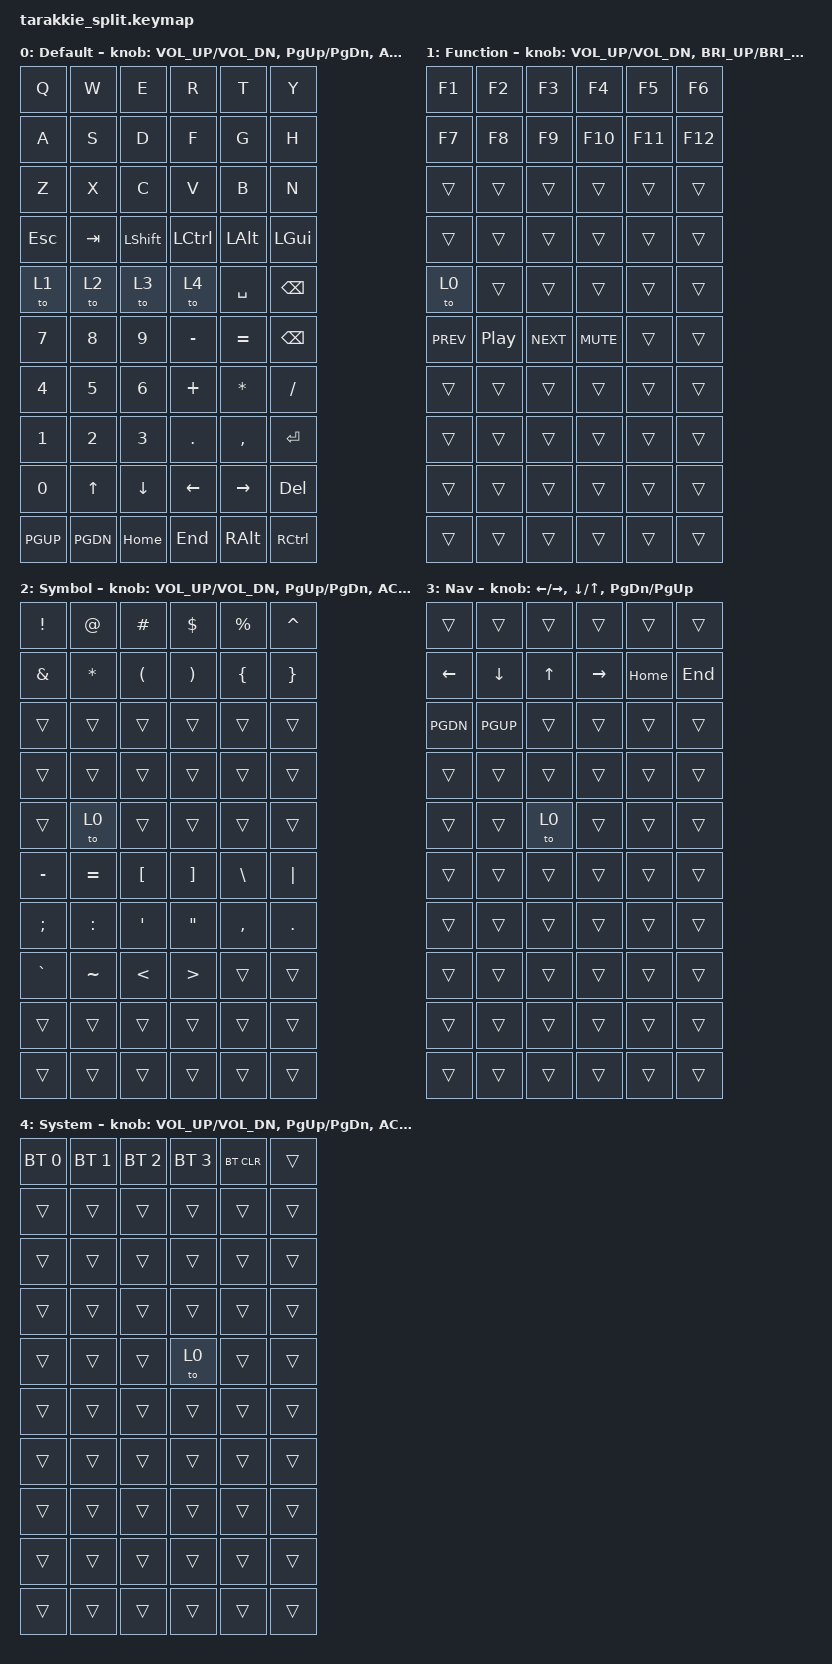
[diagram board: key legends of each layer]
/*
 * Copyright (c) 2025
 * SPDX-License-Identifier: MIT
 *
 * Tarakkie Split Keyboard Keymap
 * - Left side: 30 keys + 2 encoders (horizontal + vertical)
 * - Right side: 30 keys + 1 encoder (horizontal) + trackball
 */

#include <behaviors.dtsi>
#include <dt-bindings/zmk/keys.h>
#include <dt-bindings/zmk/bt.h>

/ {
    /* ============================================================
     * Keymap Configuration
     * Total: 60 keys (30 per side)
     * Layout per side: 6 cols x 4 rows + 6 direct keys
     * Layers: 5 (0~4)
     * ============================================================ */
    
    keymap {
        compatible = "zmk,keymap";

        /* ============================================================
         * Layer 0 - Default Layer
         * Left side: QWERTY layout + thumb keys
         * Right side: Number pad + navigation
         * Layout: 4 rows x 6 cols + 6 direct keys per side
         * ============================================================ */
        
        default_layer {
            label = "Default";
            
            bindings = <
                /* Left side (30 keys) */
                /* Matrix 6x4 */
                &kp Q      &kp W      &kp E      &kp R      &kp T      &kp Y
                &kp A      &kp S      &kp D      &kp F      &kp G      &kp H
                &kp Z      &kp X      &kp C      &kp V      &kp B      &kp N
                &kp ESC    &kp TAB    &kp LSHFT  &kp LCTRL  &kp LALT   &kp LGUI
                /* Direct keys (6) */
                &to 1      &to 2      &to 3      &to 4      &kp SPACE  &kp BSPC
                
                /* Right side (30 keys) */
                /* Matrix 6x4 */
                &kp N7     &kp N8     &kp N9     &kp MINUS  &kp EQUAL  &kp BSPC
                &kp N4     &kp N5     &kp N6     &kp PLUS   &kp STAR   &kp SLASH
                &kp N1     &kp N2     &kp N3     &kp DOT    &kp COMMA  &kp RET
                &kp N0     &kp UP     &kp DOWN   &kp LEFT   &kp RIGHT  &kp DEL
                /* Direct keys (6) */
                &kp PGUP   &kp PGDN   &kp HOME   &kp END    &kp RALT   &kp RCTRL
            >;
            
            /* ============================================================
             * Encoder Mappings for Layer 0
             * Left horizontal: Volume Up/Down
             * Left vertical: Scroll Up/Down
             * Right horizontal: Mouse Wheel Up/Down
             * ============================================================ */
            
            sensor-bindings = <
                &inc_dec_kp C_VOL_UP C_VOL_DN        // Left horizontal encoder
                &inc_dec_kp PG_UP PG_DN              // Left vertical encoder
                &inc_dec_kp C_AC_SCROLL_UP C_AC_SCROLL_DN  // Right horizontal encoder
            >;
        };

        /* ============================================================
         * Layer 1 - Function Layer
         * Function keys and media controls
         * Layout: 4 rows x 6 cols + 6 direct keys per side
         * ============================================================ */
        
        layer_1 {
            label = "Function";
            
            bindings = <
                /* Left side */
                &kp F1     &kp F2     &kp F3     &kp F4     &kp F5     &kp F6
                &kp F7     &kp F8     &kp F9     &kp F10    &kp F11    &kp F12
                &trans     &trans     &trans     &trans     &trans     &trans
                &trans     &trans     &trans     &trans     &trans     &trans
                &to 0      &trans     &trans     &trans     &trans     &trans
                
                /* Right side */
                &kp C_PREV &kp C_PLAY_PAUSE &kp C_NEXT &kp C_MUTE &trans &trans
                &trans     &trans     &trans     &trans     &trans     &trans
                &trans     &trans     &trans     &trans     &trans     &trans
                &trans     &trans     &trans     &trans     &trans     &trans
                &trans     &trans     &trans     &trans     &trans     &trans
            >;
            
            sensor-bindings = <
                &inc_dec_kp C_VOL_UP C_VOL_DN
                &inc_dec_kp C_BRI_UP C_BRI_DN    // Brightness control
                &inc_dec_kp C_NEXT C_PREV        // Media track
            >;
        };

        /* ============================================================
         * Layer 2 - Symbol Layer
         * Symbols and special characters
         * Layout: 4 rows x 6 cols + 6 direct keys per side
         * ============================================================ */
        
        layer_2 {
            label = "Symbol";
            
            bindings = <
                /* Left side */
                &kp EXCL   &kp AT     &kp HASH   &kp DLLR   &kp PRCNT  &kp CARET
                &kp AMPS   &kp STAR   &kp LPAR   &kp RPAR   &kp LBRC   &kp RBRC
                &trans     &trans     &trans     &trans     &trans     &trans
                &trans     &trans     &trans     &trans     &trans     &trans
                &trans     &to 0      &trans     &trans     &trans     &trans
                
                /* Right side */
                &kp MINUS  &kp EQUAL  &kp LBKT   &kp RBKT   &kp BSLH   &kp PIPE
                &kp SEMI   &kp COLON  &kp APOS   &kp DQT    &kp COMMA  &kp DOT
                &kp GRAVE  &kp TILDE  &kp LT     &kp GT     &trans     &trans
                &trans     &trans     &trans     &trans     &trans     &trans
                &trans     &trans     &trans     &trans     &trans     &trans
            >;
            
            sensor-bindings = <
                &inc_dec_kp C_VOL_UP C_VOL_DN
                &inc_dec_kp PG_UP PG_DN
                &inc_dec_kp C_AC_SCROLL_UP C_AC_SCROLL_DN
            >;
        };

        /* ============================================================
         * Layer 3 - Navigation Layer
         * Arrow keys and navigation
         * Layout: 4 rows x 6 cols + 6 direct keys per side
         * ============================================================ */
        
        layer_3 {
            label = "Nav";
            
            bindings = <
                /* Left side */
                &trans     &trans     &trans     &trans     &trans     &trans
                &kp LEFT   &kp DOWN   &kp UP     &kp RIGHT  &kp HOME   &kp END
                &kp PGDN   &kp PGUP   &trans     &trans     &trans     &trans
                &trans     &trans     &trans     &trans     &trans     &trans
                &trans     &trans     &to 0      &trans     &trans     &trans
                
                /* Right side */
                &trans     &trans     &trans     &trans     &trans     &trans
                &trans     &trans     &trans     &trans     &trans     &trans
                &trans     &trans     &trans     &trans     &trans     &trans
                &trans     &trans     &trans     &trans     &trans     &trans
                &trans     &trans     &trans     &trans     &trans     &trans
            >;
            
            sensor-bindings = <
                &inc_dec_kp LEFT RIGHT
                &inc_dec_kp DOWN UP
                &inc_dec_kp PG_DN PG_UP
            >;
        };

        /* ============================================================
         * Layer 4 - System Layer
         * Bluetooth controls and system functions
         * Layout: 4 rows x 6 cols + 6 direct keys per side
         * ============================================================ */
        
        layer_4 {
            label = "System";
            
            bindings = <
                /* Left side */
                &bt BT_SEL 0 &bt BT_SEL 1 &bt BT_SEL 2 &bt BT_SEL 3 &bt BT_CLR &trans
                &trans       &trans        &trans        &trans       &trans     &trans
                &trans       &trans        &trans        &trans       &trans     &trans
                &trans       &trans        &trans        &trans       &trans     &trans
                &trans       &trans        &trans        &to 0        &trans     &trans
                
                /* Right side */
                &trans     &trans     &trans     &trans     &trans     &trans
                &trans     &trans     &trans     &trans     &trans     &trans
                &trans     &trans     &trans     &trans     &trans     &trans
                &trans     &trans     &trans     &trans     &trans     &trans
                &trans     &trans     &trans     &trans     &trans     &trans
            >;
            
            sensor-bindings = <
                &inc_dec_kp C_VOL_UP C_VOL_DN
                &inc_dec_kp PG_UP PG_DN
                &inc_dec_kp C_AC_SCROLL_UP C_AC_SCROLL_DN
            >;
        };
    };
};
